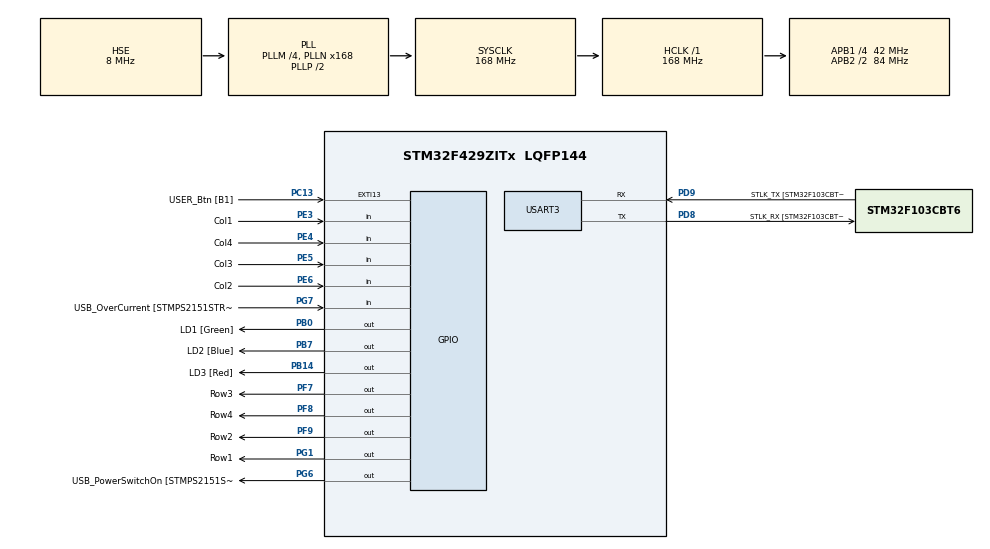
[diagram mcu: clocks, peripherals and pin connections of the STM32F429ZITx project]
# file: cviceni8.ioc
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Mcu.Family=STM32F4
Mcu.Name=STM32F429ZITx
Mcu.Package=LQFP144
NVIC.PriorityGroup=NVIC_PRIORITYGROUP_4
NVIC.TIM3_IRQn=true\:0\:0\:false\:false\:true\:true\:true
PA1.GPIO_Label=RMII_REF_CLK [LAN8742A-CZ-TR_REFCLK0]
PA1.Signal=ETH_REF_CLK
PA10.GPIO_Label=USB_ID
PA10.Signal=USB_OTG_FS_ID
PA11.GPIO_Label=USB_DM
PA11.Signal=USB_OTG_FS_DM
PA12.GPIO_Label=USB_DP
PA12.Signal=USB_OTG_FS_DP
PA13.GPIO_Label=TMS
PA13.Mode=Serial_Wire
PA13.Signal=SYS_JTMS-SWDIO
PA14.GPIO_Label=TCK
PA14.Mode=Serial_Wire
PA14.Signal=SYS_JTCK-SWCLK
PA2.GPIO_Label=RMII_MDIO [LAN8742A-CZ-TR_MDIO]
PA2.Signal=ETH_MDIO
PA7.GPIO_Label=RMII_CRS_DV [LAN8742A-CZ-TR_CRS_DV]
PA7.Signal=ETH_CRS_DV
PA8.GPIO_Label=USB_SOF [TP1]
PA8.Signal=USB_OTG_FS_SOF
PA9.GPIO_Label=USB_VBUS
PA9.Signal=USB_OTG_FS_VBUS
PB0.GPIO_Label=LD1 [Green]
PB0.Signal=GPIO_Output
PB13.GPIO_Label=RMII_TXD1 [LAN8742A-CZ-TR_TXD1]
PB13.Signal=ETH_TXD1
PB14.GPIO_Label=LD3 [Red]
PB14.Signal=GPIO_Output
PB7.GPIO_Label=LD2 [Blue]
PB7.Signal=GPIO_Output
PC1.GPIO_Label=RMII_MDC [LAN8742A-CZ-TR_MDC]
PC1.Signal=ETH_MDC
PC13.GPIO_Label=USER_Btn [B1]
PC13.Signal=GPXTI13
PC14/OSC32_IN.Mode=LSE-External-Oscillator
PC14/OSC32_IN.Signal=RCC_OSC32_IN
PC15/OSC32_OUT.Mode=LSE-External-Oscillator
PC15/OSC32_OUT.Signal=RCC_OSC32_OUT
PC4.GPIO_Label=RMII_RXD0 [LAN8742A-CZ-TR_RXD0]
PC4.Signal=ETH_RXD0
PC5.GPIO_Label=RMII_RXD1 [LAN8742A-CZ-TR_RXD1]
PC5.Signal=ETH_RXD1
PD8.GPIO_Label=STLK_RX [STM32F103CBT6_PA3]
PD8.Mode=Asynchronous
PD8.Signal=USART3_TX
PD9.GPIO_Label=STLK_TX [STM32F103CBT6_PA2]
PD9.Mode=Asynchronous
PD9.Signal=USART3_RX
PE3.GPIO_Label=Col1
PE3.GPIO_PuPd=GPIO_PULLUP
PE3.Signal=GPIO_Input
PE4.GPIO_Label=Col4
PE4.GPIO_PuPd=GPIO_PULLUP
PE4.Signal=GPIO_Input
PE5.GPIO_Label=Col3
PE5.GPIO_PuPd=GPIO_PULLUP
PE5.Signal=GPIO_Input
PE6.GPIO_Label=Col2
PE6.GPIO_PuPd=GPIO_PULLUP
PE6.Signal=GPIO_Input
PF7.GPIO_Label=Row3
PF7.GPIO_ModeDefaultOutputPP=GPIO_MODE_OUTPUT_OD
PF7.Signal=GPIO_Output
PF8.GPIO_Label=Row4
PF8.GPIO_ModeDefaultOutputPP=GPIO_MODE_OUTPUT_OD
PF8.Signal=GPIO_Output
PF9.GPIO_Label=Row2
PF9.GPIO_ModeDefaultOutputPP=GPIO_MODE_OUTPUT_OD
PF9.Signal=GPIO_Output
PG1.GPIO_Label=Row1
PG1.GPIO_ModeDefaultOutputPP=GPIO_MODE_OUTPUT_OD
PG1.Signal=GPIO_Output
PG11.GPIO_Label=RMII_TX_EN [LAN8742A-CZ-TR_TXEN]
PG11.Signal=ETH_TX_EN
PG13.GPIO_Label=RMII_TXD0 [LAN8742A-CZ-TR_TXD0]
PG13.Signal=ETH_TXD0
PG6.GPIO_Label=USB_PowerSwitchOn [STMPS2151STR_EN]
PG6.Signal=GPIO_Output
PG7.GPIO_Label=USB_OverCurrent [STMPS2151STR_FAULT]
PG7.Signal=GPIO_Input
PH0/OSC_IN.GPIO_Label=MCO [STM32F103CBT6_PA8]
PH0/OSC_IN.Mode=HSE-External-Clock-Source
PH0/OSC_IN.Signal=RCC_OSC_IN
PH1/OSC_OUT.Mode=HSE-External-Clock-Source
PH1/OSC_OUT.Signal=RCC_OSC_OUT
ProjectManager.HeapSize=0x200
ProjectManager.StackSize=0x400
ProjectManager.TargetToolchain=STM32CubeIDE
RCC.48MHZClocksFreq_Value=48000000
RCC.AHBFreq_Value=168000000
RCC.APB1CLKDivider=RCC_HCLK_DIV4
RCC.APB1Freq_Value=42000000
RCC.APB1TimFreq_Value=84000000
RCC.APB2CLKDivider=RCC_HCLK_DIV2
RCC.APB2Freq_Value=84000000
RCC.APB2TimCLKDivider=2
RCC.APB2TimFreq_Value=168000000
RCC.CortexFreq_Value=168000000
RCC.HCLKFreq_Value=168000000
RCC.HSE_VALUE=8000000
RCC.HSI_VALUE=16000000
RCC.PLLM=4
RCC.PLLMUL=RCC_PLL_MUL9
RCC.PLLN=168
RCC.PLLQ=7
RCC.PLLSourceVirtual=RCC_PLLSOURCE_HSE
RCC.PRESCALERUSB=RCC_USBCLKSOURCE_PLL_DIV1_5
RCC.SYSCLKFreq_VALUE=168000000
RCC.SYSCLKSource=RCC_SYSCLKSOURCE_PLLCLK
RCC.SYSCLKSourceVirtual=RCC_SYSCLKSOURCE_PLLCLK
RCC.USBFreq_Value=48000000
RCC.VCOOutputFreq_Value=336000000
TIM3.AutoReloadPreload=TIM_AUTORELOAD_PRELOAD_ENABLE
TIM3.Period=99
TIM3.Prescaler=8399
USART3.VirtualMode=VM_ASYNC
VP_TIM3_VS_ClockSourceINT.Mode=Internal
board=NUCLEO-F429ZI

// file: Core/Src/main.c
/* USER CODE BEGIN Header */
/**
 ******************************************************************************
 * @file           : main.c
 * @brief          : Main program body
 ******************************************************************************
 * @attention
 *
 * <h2><center>&copy; Copyright (c) 2021 STMicroelectronics.
 * All rights reserved.</center></h2>
 *
 * This software component is licensed by ST under BSD 3-Clause license,
 * the "License"; You may not use this file except in compliance with the
 * License. You may obtain a copy of the License at:
 *                        opensource.org/licenses/BSD-3-Clause
 *
 ******************************************************************************
 */
/* USER CODE END Header */
#include "main.h"

/* USER CODE BEGIN Includes */

#include <stdio.h>
#include <string.h>
/* USER CODE END Includes */

TIM_HandleTypeDef htim3;

UART_HandleTypeDef huart3;

/* USER CODE BEGIN PV */
static volatile int8_t key = -1; //zde je zapsan scan-kod stiskle klavesy 0 az 9, prip. 11 pro *, 12 pro #, 21 az 24 pro A az D

/* USER CODE END PV */

void SystemClock_Config(void);
static void MX_GPIO_Init(void);
static void MX_USART3_UART_Init(void);
static void MX_TIM3_Init(void);
/* USER CODE BEGIN PFP */

int __io_putchar(int ch) {
	ITM_SendChar(ch);
	return 0;
}
/* USER CODE END PFP */

int main(void) {

	/* MCU Configuration--------------------------------------------------------*/

	/* Reset of all peripherals, Initializes the Flash interface and the Systick. */
	HAL_Init();

	/* Configure the system clock */
	SystemClock_Config();

	/* Initialize all configured peripherals */
	MX_GPIO_Init();
	MX_USART3_UART_Init();
	MX_TIM3_Init();
	/* USER CODE BEGIN 2 */
	HAL_TIM_Base_Start_IT(&htim3); //povoleni preruseni casove zakladny
	//
	uint8_t kod_pozadovany[5] = { 7, 9, 3, 2, 12};//{ 7, 9, 3, 2, 12};
	uint8_t kod_zadavany[5] = { 0, 0, 0, 0, 0};
	uint8_t pozice = 0;
	//uint8_t kod_je_spravny = 0;

	uint32_t cas_vyprseni;
	uint8_t bezi_vyprseni = 0;
	uint8_t spravnost = 0;
	HAL_Delay(50);
	printf("START \n");

	/* USER CODE END 2 */

	/* Infinite loop */
	/* USER CODE BEGIN WHILE */
	while (1) {

		HAL_Delay(250);
		if (key != -1) {
			//cas pro zadani jeste nevyprsel
			//obsluha tlacitka
			bezi_vyprseni = 1;
			printf("zadano: \n");
			kod_zadavany[pozice] = key;

			if (pozice == 0) {
				cas_vyprseni = HAL_GetTick() + 15000;
			}

			for (uint8_t i = 0; i < 5; i++) { //vytisk dosud zmacknutych tlacitek
				printf("%d ", kod_zadavany[i]);

			}
			printf("\n");
/*
			if (pozice == 4) {
				bezi_vyprseni = 0;
				if (strcmp(kod_zadavany, kod_pozadovany) == 0) {
					HAL_GPIO_WritePin(LD1_GPIO_Port, LD1_Pin, GPIO_PIN_SET);
					printf("kod je spravny \n");
				} else {
					printf("kod je spatny \n");
				}
			}
*/
			if (key == kod_pozadovany[pozice]) {
				spravnost++;
				if (pozice == 4) {
					for (uint8_t i = 0; i < 5; ++i)	{
						kod_zadavany[i] = 0;
					}

					if (spravnost == 5) {
						spravnost = 0;
						bezi_vyprseni = 0;
						HAL_GPIO_WritePin(LD1_GPIO_Port, LD1_Pin, GPIO_PIN_SET);
						printf("kod je spravny \n");
					} else {
						spravnost = 0;
						bezi_vyprseni = 0;
						HAL_GPIO_WritePin(LD1_GPIO_Port, LD1_Pin, GPIO_PIN_RESET);
						printf("kod je spatny \n");

					}
					//pozice = 0;
				}
			}else if(pozice == 4) {
				spravnost = 0;
				bezi_vyprseni = 0;
				HAL_GPIO_WritePin(LD1_GPIO_Port, LD1_Pin, GPIO_PIN_RESET);
				printf("kod je spatny \n");
			}

			pozice++;
			if (pozice > 4) { //prepsat zadane hodnoty kdyz je napsana vetsi velikost
				for (uint8_t i = 0; i < 5; ++i) { //vynulovani
					kod_zadavany[i] = 0;
				}
				pozice = 0;
			}

			HAL_Delay(1000);// kvuli zakmitum tlacitka
			key = -1; //muze byt precteno dalsi tlacitko (minule bylo obslouzeno)

		}

		if ((HAL_GetTick() >= cas_vyprseni) && bezi_vyprseni) { //cas pro zadani vyprsel
			bezi_vyprseni = 0; //

			for (uint8_t i = 0; i < 5; ++i) {
				kod_zadavany[i] = 0;
			}
			pozice = 0;

			HAL_GPIO_WritePin(LD1_GPIO_Port, LD1_Pin, GPIO_PIN_RESET);

			printf("cas pro zadani kodu vyprsel \n");

		}
		/* USER CODE END WHILE */

	}
}

void SystemClock_Config(void) {
	RCC_OscInitTypeDef RCC_OscInitStruct = { 0 };
	RCC_ClkInitTypeDef RCC_ClkInitStruct = { 0 };

	/** Configure the main internal regulator output voltage
	 */
	__HAL_RCC_PWR_CLK_ENABLE();
	__HAL_PWR_VOLTAGESCALING_CONFIG(PWR_REGULATOR_VOLTAGE_SCALE1);
	/** Initializes the RCC Oscillators according to the specified parameters
	 * in the RCC_OscInitTypeDef structure.
	 */
	RCC_OscInitStruct.OscillatorType = RCC_OSCILLATORTYPE_HSE;
	RCC_OscInitStruct.HSEState = RCC_HSE_BYPASS;
	RCC_OscInitStruct.PLL.PLLState = RCC_PLL_ON;
	RCC_OscInitStruct.PLL.PLLSource = RCC_PLLSOURCE_HSE;
	RCC_OscInitStruct.PLL.PLLM = 4;
	RCC_OscInitStruct.PLL.PLLN = 168;
	RCC_OscInitStruct.PLL.PLLP = RCC_PLLP_DIV2;
	RCC_OscInitStruct.PLL.PLLQ = 7;
	if (HAL_RCC_OscConfig(&RCC_OscInitStruct) != HAL_OK) {
		Error_Handler();
	}
	/** Initializes the CPU, AHB and APB buses clocks
	 */
	RCC_ClkInitStruct.ClockType = RCC_CLOCKTYPE_HCLK | RCC_CLOCKTYPE_SYSCLK
			| RCC_CLOCKTYPE_PCLK1 | RCC_CLOCKTYPE_PCLK2;
	RCC_ClkInitStruct.SYSCLKSource = RCC_SYSCLKSOURCE_PLLCLK;
	RCC_ClkInitStruct.AHBCLKDivider = RCC_SYSCLK_DIV1;
	RCC_ClkInitStruct.APB1CLKDivider = RCC_HCLK_DIV4;
	RCC_ClkInitStruct.APB2CLKDivider = RCC_HCLK_DIV2;

	if (HAL_RCC_ClockConfig(&RCC_ClkInitStruct, FLASH_LATENCY_5) != HAL_OK) {
		Error_Handler();
	}
}

static void MX_TIM3_Init(void) {

	TIM_ClockConfigTypeDef sClockSourceConfig = { 0 };
	TIM_MasterConfigTypeDef sMasterConfig = { 0 };

	htim3.Instance = TIM3;
	htim3.Init.Prescaler = 8399;
	htim3.Init.CounterMode = TIM_COUNTERMODE_UP;
	htim3.Init.Period = 99;
	htim3.Init.ClockDivision = TIM_CLOCKDIVISION_DIV1;
	htim3.Init.AutoReloadPreload = TIM_AUTORELOAD_PRELOAD_ENABLE;
	if (HAL_TIM_Base_Init(&htim3) != HAL_OK) {
		Error_Handler();
	}
	sClockSourceConfig.ClockSource = TIM_CLOCKSOURCE_INTERNAL;
	if (HAL_TIM_ConfigClockSource(&htim3, &sClockSourceConfig) != HAL_OK) {
		Error_Handler();
	}
	sMasterConfig.MasterOutputTrigger = TIM_TRGO_RESET;
	sMasterConfig.MasterSlaveMode = TIM_MASTERSLAVEMODE_DISABLE;
	if (HAL_TIMEx_MasterConfigSynchronization(&htim3, &sMasterConfig)
			!= HAL_OK) {
		Error_Handler();
	}

}

static void MX_USART3_UART_Init(void) {

	huart3.Instance = USART3;
	huart3.Init.BaudRate = 115200;
	huart3.Init.WordLength = UART_WORDLENGTH_8B;
	huart3.Init.StopBits = UART_STOPBITS_1;
	huart3.Init.Parity = UART_PARITY_NONE;
	huart3.Init.Mode = UART_MODE_TX_RX;
	huart3.Init.HwFlowCtl = UART_HWCONTROL_NONE;
	huart3.Init.OverSampling = UART_OVERSAMPLING_16;
	if (HAL_UART_Init(&huart3) != HAL_OK) {
		Error_Handler();
	}

}

static void MX_GPIO_Init(void) {
	GPIO_InitTypeDef GPIO_InitStruct = { 0 };

	/* GPIO Ports Clock Enable */
	__HAL_RCC_GPIOE_CLK_ENABLE();
	__HAL_RCC_GPIOC_CLK_ENABLE();
	__HAL_RCC_GPIOF_CLK_ENABLE();
	__HAL_RCC_GPIOH_CLK_ENABLE();
	__HAL_RCC_GPIOA_CLK_ENABLE();
	__HAL_RCC_GPIOB_CLK_ENABLE();
	__HAL_RCC_GPIOG_CLK_ENABLE();
	__HAL_RCC_GPIOD_CLK_ENABLE();

	/*Configure GPIO pin Output Level */
	HAL_GPIO_WritePin(GPIOF, Row3_Pin | Row4_Pin | Row2_Pin, GPIO_PIN_RESET);

	/*Configure GPIO pin Output Level */
	HAL_GPIO_WritePin(GPIOB, LD1_Pin | LD3_Pin | LD2_Pin, GPIO_PIN_RESET);

	/*Configure GPIO pin Output Level */
	HAL_GPIO_WritePin(GPIOG, Row1_Pin | USB_PowerSwitchOn_Pin, GPIO_PIN_RESET);

	/*Configure GPIO pins : Col1_Pin Col4_Pin Col3_Pin Col2_Pin */
	GPIO_InitStruct.Pin = Col1_Pin | Col4_Pin | Col3_Pin | Col2_Pin;
	GPIO_InitStruct.Mode = GPIO_MODE_INPUT;
	GPIO_InitStruct.Pull = GPIO_PULLUP;
	HAL_GPIO_Init(GPIOE, &GPIO_InitStruct);

	/*Configure GPIO pin : USER_Btn_Pin */
	GPIO_InitStruct.Pin = USER_Btn_Pin;
	GPIO_InitStruct.Mode = GPIO_MODE_IT_RISING;
	GPIO_InitStruct.Pull = GPIO_NOPULL;
	HAL_GPIO_Init(USER_Btn_GPIO_Port, &GPIO_InitStruct);

	/*Configure GPIO pins : Row3_Pin Row4_Pin Row2_Pin */
	GPIO_InitStruct.Pin = Row3_Pin | Row4_Pin | Row2_Pin;
	GPIO_InitStruct.Mode = GPIO_MODE_OUTPUT_OD;
	GPIO_InitStruct.Pull = GPIO_NOPULL;
	GPIO_InitStruct.Speed = GPIO_SPEED_FREQ_LOW;
	HAL_GPIO_Init(GPIOF, &GPIO_InitStruct);

	/*Configure GPIO pins : RMII_MDC_Pin RMII_RXD0_Pin RMII_RXD1_Pin */
	GPIO_InitStruct.Pin = RMII_MDC_Pin | RMII_RXD0_Pin | RMII_RXD1_Pin;
	GPIO_InitStruct.Mode = GPIO_MODE_AF_PP;
	GPIO_InitStruct.Pull = GPIO_NOPULL;
	GPIO_InitStruct.Speed = GPIO_SPEED_FREQ_VERY_HIGH;
	GPIO_InitStruct.Alternate = GPIO_AF11_ETH;
	HAL_GPIO_Init(GPIOC, &GPIO_InitStruct);

	/*Configure GPIO pins : RMII_REF_CLK_Pin RMII_MDIO_Pin RMII_CRS_DV_Pin */
	GPIO_InitStruct.Pin = RMII_REF_CLK_Pin | RMII_MDIO_Pin | RMII_CRS_DV_Pin;
	GPIO_InitStruct.Mode = GPIO_MODE_AF_PP;
	GPIO_InitStruct.Pull = GPIO_NOPULL;
	GPIO_InitStruct.Speed = GPIO_SPEED_FREQ_VERY_HIGH;
	GPIO_InitStruct.Alternate = GPIO_AF11_ETH;
	HAL_GPIO_Init(GPIOA, &GPIO_InitStruct);

	/*Configure GPIO pins : LD1_Pin LD3_Pin LD2_Pin */
	GPIO_InitStruct.Pin = LD1_Pin | LD3_Pin | LD2_Pin;
	GPIO_InitStruct.Mode = GPIO_MODE_OUTPUT_PP;
	GPIO_InitStruct.Pull = GPIO_NOPULL;
	GPIO_InitStruct.Speed = GPIO_SPEED_FREQ_LOW;
	HAL_GPIO_Init(GPIOB, &GPIO_InitStruct);

	/*Configure GPIO pin : Row1_Pin */
	GPIO_InitStruct.Pin = Row1_Pin;
	GPIO_InitStruct.Mode = GPIO_MODE_OUTPUT_OD;
	GPIO_InitStruct.Pull = GPIO_NOPULL;
	GPIO_InitStruct.Speed = GPIO_SPEED_FREQ_LOW;
	HAL_GPIO_Init(Row1_GPIO_Port, &GPIO_InitStruct);

	/*Configure GPIO pin : RMII_TXD1_Pin */
	GPIO_InitStruct.Pin = RMII_TXD1_Pin;
	GPIO_InitStruct.Mode = GPIO_MODE_AF_PP;
	GPIO_InitStruct.Pull = GPIO_NOPULL;
	GPIO_InitStruct.Speed = GPIO_SPEED_FREQ_VERY_HIGH;
	GPIO_InitStruct.Alternate = GPIO_AF11_ETH;
	HAL_GPIO_Init(RMII_TXD1_GPIO_Port, &GPIO_InitStruct);

	/*Configure GPIO pin : USB_PowerSwitchOn_Pin */
	GPIO_InitStruct.Pin = USB_PowerSwitchOn_Pin;
	GPIO_InitStruct.Mode = GPIO_MODE_OUTPUT_PP;
	GPIO_InitStruct.Pull = GPIO_NOPULL;
	GPIO_InitStruct.Speed = GPIO_SPEED_FREQ_LOW;
	HAL_GPIO_Init(USB_PowerSwitchOn_GPIO_Port, &GPIO_InitStruct);

	/*Configure GPIO pin : USB_OverCurrent_Pin */
	GPIO_InitStruct.Pin = USB_OverCurrent_Pin;
	GPIO_InitStruct.Mode = GPIO_MODE_INPUT;
	GPIO_InitStruct.Pull = GPIO_NOPULL;
	HAL_GPIO_Init(USB_OverCurrent_GPIO_Port, &GPIO_InitStruct);

	/*Configure GPIO pins : USB_SOF_Pin USB_ID_Pin USB_DM_Pin USB_DP_Pin */
	GPIO_InitStruct.Pin = USB_SOF_Pin | USB_ID_Pin | USB_DM_Pin | USB_DP_Pin;
	GPIO_InitStruct.Mode = GPIO_MODE_AF_PP;
	GPIO_InitStruct.Pull = GPIO_NOPULL;
	GPIO_InitStruct.Speed = GPIO_SPEED_FREQ_VERY_HIGH;
	GPIO_InitStruct.Alternate = GPIO_AF10_OTG_FS;
	HAL_GPIO_Init(GPIOA, &GPIO_InitStruct);

	/*Configure GPIO pin : USB_VBUS_Pin */
	GPIO_InitStruct.Pin = USB_VBUS_Pin;
	GPIO_InitStruct.Mode = GPIO_MODE_INPUT;
	GPIO_InitStruct.Pull = GPIO_NOPULL;
	HAL_GPIO_Init(USB_VBUS_GPIO_Port, &GPIO_InitStruct);

	/*Configure GPIO pins : RMII_TX_EN_Pin RMII_TXD0_Pin */
	GPIO_InitStruct.Pin = RMII_TX_EN_Pin | RMII_TXD0_Pin;
	GPIO_InitStruct.Mode = GPIO_MODE_AF_PP;
	GPIO_InitStruct.Pull = GPIO_NOPULL;
	GPIO_InitStruct.Speed = GPIO_SPEED_FREQ_VERY_HIGH;
	GPIO_InitStruct.Alternate = GPIO_AF11_ETH;
	HAL_GPIO_Init(GPIOG, &GPIO_InitStruct);

}

/* USER CODE BEGIN 4 */
//skenovani maticove klavesnice
void HAL_TIM_PeriodElapsedCallback(TIM_HandleTypeDef *htim) {
	static int row = 0;
	static const int keyboard[4][4] = {
			{ 1, 2, 3, 21 },
			{ 4, 5, 6, 22 },
			{ 7, 8, 9, 23 },
		    {11, 0, 12, 24 },
	};
	if (key == -1) { //kdyz key == -1 precti dalsi klavesu (zvladne detekovat jen jedno zmackle tlacitko
		if (HAL_GPIO_ReadPin(Col1_GPIO_Port, Col1_Pin) == GPIO_PIN_RESET)
			key = keyboard[row][0];
		if (HAL_GPIO_ReadPin(Col2_GPIO_Port, Col2_Pin) == GPIO_PIN_RESET)
			key = keyboard[row][1];
		if (HAL_GPIO_ReadPin(Col3_GPIO_Port, Col3_Pin) == GPIO_PIN_RESET)
			key = keyboard[row][2];
		if (HAL_GPIO_ReadPin(Col4_GPIO_Port, Col4_Pin) == GPIO_PIN_RESET)
			key = keyboard[row][3];

// ... atd ...
	}
	HAL_GPIO_WritePin(Row1_GPIO_Port, Row1_Pin, GPIO_PIN_SET);
	HAL_GPIO_WritePin(Row2_GPIO_Port, Row2_Pin, GPIO_PIN_SET);
	HAL_GPIO_WritePin(Row3_GPIO_Port, Row3_Pin, GPIO_PIN_SET);
	HAL_GPIO_WritePin(Row4_GPIO_Port, Row4_Pin, GPIO_PIN_SET);
	switch (row) {
	case 0:
		row = 1;
		HAL_GPIO_WritePin(Row2_GPIO_Port, Row2_Pin, GPIO_PIN_RESET);
		break;
	case 1:
		row = 2;
		HAL_GPIO_WritePin(Row3_GPIO_Port, Row3_Pin, GPIO_PIN_RESET);
		break;
	case 2:
		row = 3;
		HAL_GPIO_WritePin(Row4_GPIO_Port, Row4_Pin, GPIO_PIN_RESET);
		break;
	case 3:
		row = 0;
		HAL_GPIO_WritePin(Row1_GPIO_Port, Row1_Pin, GPIO_PIN_RESET);
		break;
// ... atd ...
	}
}
/* USER CODE END 4 */

void Error_Handler(void) {
	__disable_irq();
	while (1) {
	}
}

/************************ (C) COPYRIGHT STMicroelectronics *****END OF FILE****/
